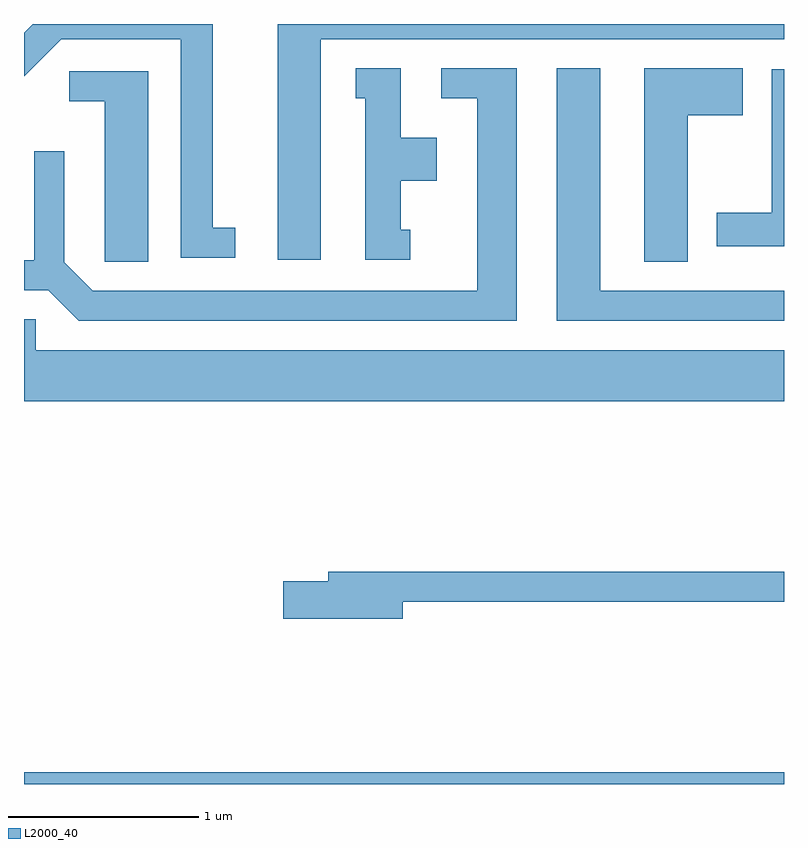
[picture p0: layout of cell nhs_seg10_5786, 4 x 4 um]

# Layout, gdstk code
import gdstk
lib = gdstk.Library(unit=1e-6, precision=1e-09)
def R(c, l, rs):  # rectangles x0, y0, x1, y1
    for r in rs: c.add(gdstk.rectangle(r[:2], r[2:], *l))
def P(c, l, *ps):  # polygons
    for p in ps: c.add(gdstk.Polygon(p, *l))
L2000_40 = (2000, 40)

nhs_seg10_5786 = lib.new_cell('nhs_seg10_5786')
R(nhs_seg10_5786, L2000_40, [(355.611,2158.522,359.611,2158.584)])
P(nhs_seg10_5786, L2000_40, [(356.723,2161.449),(356.604,2161.449),(356.604,2162.522),(355.657,2162.522),(355.611,2162.476),(355.611,2162.246),(355.612,2162.246),(355.807,2162.441),(356.436,2162.441),(356.436,2161.291),(356.723,2161.291)],
  [(357.174,2162.441),(359.611,2162.441),(359.611,2162.522),(356.946,2162.522),(356.946,2161.281),(357.174,2161.281)],
  [(357.643,2161.439),(357.594,2161.439),(357.594,2161.696),(357.784,2161.696),(357.784,2161.924),(357.594,2161.924),(357.594,2162.289),(357.358,2162.289),(357.358,2162.131),(357.406,2162.131),(357.406,2161.281),(357.643,2161.281)],
  [(358.204,2162.289),(357.808,2162.289),(357.808,2162.131),(357.996,2162.131),(357.996,2161.119),(355.972,2161.119),(355.824,2161.267),(355.824,2161.853),(355.666,2161.853),(355.666,2161.279),(355.611,2161.279),(355.611,2161.121),(355.739,2161.121),(355.899,2160.961),(358.204,2160.961)],
  [(359.611,2161.119),(358.644,2161.119),(358.644,2162.289),(358.416,2162.289),(358.416,2160.961),(359.611,2160.961)],
  [(359.104,2162.041),(359.394,2162.041),(359.394,2162.289),(358.876,2162.289),(358.876,2161.271),(359.104,2161.271)],
  [(359.611,2162.284),(359.546,2162.284),(359.546,2161.529),(359.256,2161.529),(359.256,2161.351),(359.611,2161.351)],
  [(356.264,2162.274),(355.848,2162.274),(355.848,2162.116),(356.036,2162.116),(356.036,2161.271),(356.264,2161.271)],
  [(359.611,2160.804),(355.674,2160.804),(355.674,2160.969),(355.611,2160.969),(355.611,2160.536),(359.611,2160.536)],
  [(357.604,2159.481),(359.611,2159.481),(359.611,2159.639),(357.211,2159.639),(357.211,2159.589),(356.976,2159.589),(356.976,2159.391),(357.604,2159.391)])

lib.write_gds('nhs_seg10_5786.gds')
